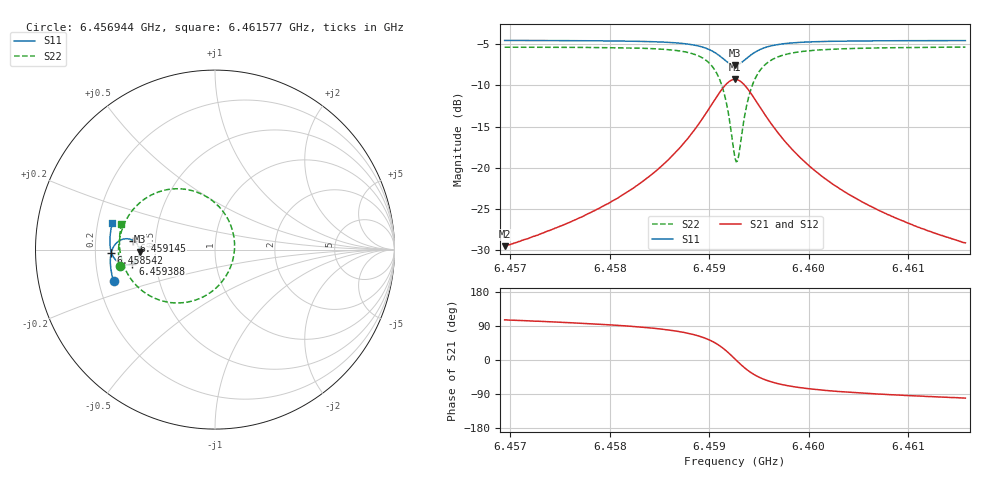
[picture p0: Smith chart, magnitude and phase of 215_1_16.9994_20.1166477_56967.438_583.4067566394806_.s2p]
#  HZ  S  RI  R  50.00
! Rohde & Schwarz Vector Network Analyzer
! Rohde-Schwarz,ZNB20-2Port,1311601062101988,3.16
! Created: UTC 3/20/2024, 11:01:43 PM
! freq[Hz]  re:S11  im:S11  re:S21  im:S21  re:S12  im:S12  re:S22  im:S22
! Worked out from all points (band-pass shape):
!   401 points, 6.456944 GHz to 6.461577 GHz, reference 50 ohm
!   highest |S21| = -9.27 dB at 6.45926 GHz (marker M1); lowest = -29.5 dB at 6.456944 GHz (marker M2)
!   |S21| within 3 dB of the highest: 6.459029 GHz to 6.459492 GHz (463 kHz wide, 0.00717 % of centre)
!   lowest |S11| = -7.6 dB at 6.45926 GHz (marker M3), VSWR 2.44, Z = 20.5 - j0.605 ohm
!   |S11| at or under -10 dB: nowhere
!   |S22| runs from -19.3 to -5.4 dB; largest |S21 - S12| = 0.013
!   S11 on the Smith chart (normalised r, x): 6.456944 GHz: 0.26, -0.14; 6.458542 GHz: 0.27, -0.01; 6.459145 GHz: 0.37, +0.05; 6.459388 GHz: 0.37, -0.07; 6.461577 GHz: 0.26, +0.12
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6.4569442e9  -0.5654 -0.1758  -0.00912 0.0322  -0.00737 0.0321  -0.5309 -0.091
6.4577201e9  -0.58 -0.1082  -0.00586 0.05  -0.00347 0.0495  -0.5373 -0.000669
6.458137e9  -0.5833 -0.0666  -0.000326 0.0688  0.00278 0.0675  -0.5302 0.0647
6.458496e9  -0.5796 -0.024  0.0133 0.0982  0.0175 0.0956  -0.5052 0.1447
6.4585423e9  -0.5783 -0.0176  0.0167 0.1037  0.0208 0.1007  -0.4989 0.158
6.4587508e9  -0.5662 0.0142  0.0427 0.1355  0.0468 0.1308  -0.4508 0.2297
6.4589013e9  -0.5451 0.0406  0.0851 0.1658  0.0883 0.1595  -0.3728 0.2943
6.4590519e9  -0.499 0.0604  0.1764 0.1853  0.1775 0.178  -0.2054 0.3391
6.4591445e9  -0.4546 0.0503  0.2663 0.1548  0.2666 0.1489  -0.0393 0.2899
6.4591909e9  -0.4334 0.0317  0.31 0.1122  0.3113 0.1069  0.0436 0.2143
6.4592603e9  -0.4185 -0.0122  0.3435 0.0157  0.3472 0.00885  0.1089 0.0356
6.4592719e9  -0.4189 -0.0202  0.3434 -0.0021  0.3473 -0.00948  0.1088 0.00218
6.4592951e9  -0.4225 -0.0359  0.338 -0.0366  0.3417 -0.0456  0.0979 -0.0634
6.4593414e9  -0.4379 -0.0618  0.3098 -0.0963  0.3118 -0.108  0.041 -0.176
6.4593877e9  -0.4599 -0.078  0.2681 -0.1372  0.2673 -0.1504  -0.0432 -0.2507
6.4594804e9  -0.503 -0.085  0.1839 -0.1686  0.1778 -0.1799  -0.2107 -0.2973
6.4596309e9  -0.5468 -0.0644  0.0964 -0.1552  0.0881 -0.1613  -0.3775 -0.249
6.4597931e9  -0.5683 -0.0369  0.0516 -0.1276  0.0442 -0.1304  -0.4578 -0.1778
6.4600363e9  -0.5811 -0.00134  0.0225 -0.0965  0.0169 -0.0971  -0.5059 -0.0958
6.4603837e9  -0.5857 0.0398  0.00656 -0.0699  0.00257 -0.0695  -0.5278 -0.0172
6.4608122e9  -0.5838 0.0826  -0.00129 -0.0517  -0.00409 -0.0507  -0.5322 0.0512
6.4615765e9  -0.5718 0.1505  -0.0064 -0.0344  -0.00804 -0.0334  -0.5212 0.1411
